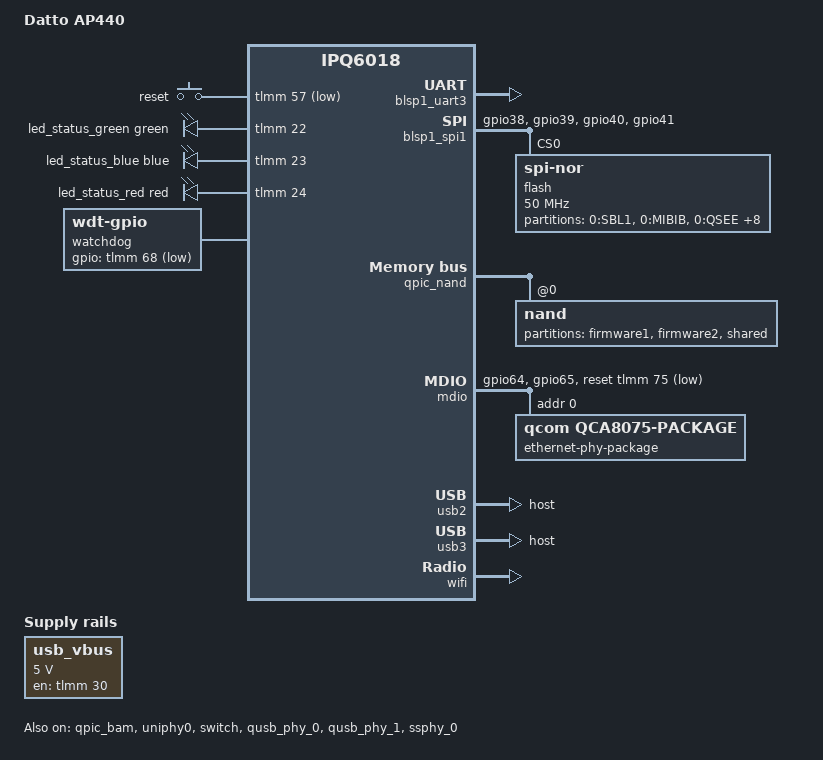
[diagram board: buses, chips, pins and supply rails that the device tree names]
// SPDX-License-Identifier: GPL-2.0-or-later OR MIT

/dts-v1/;

#include "ipq6018.dtsi"
#include "ipq6018-cp-cpu.dtsi"
#include "ipq6018-ess.dtsi"

#include <dt-bindings/gpio/gpio.h>
#include <dt-bindings/input/input.h>
#include <dt-bindings/leds/common.h>

/ {
	model = "Datto AP440";
	compatible = "datto,ap440", "qcom,ipq6018";

	aliases {
		serial0 = &blsp1_uart3;
		label-mac-device = &swport3;
		led-boot = &led_status_green;
		led-failsafe = &led_status_red;
		led-running = &led_status_green;
		led-upgrade = &led_status_blue;
	};

	chosen {
		stdout-path = "serial0:115200n8";
		bootargs-append = " root=/dev/ubiblock0_1";
	};

	keys {
		compatible = "gpio-keys";
		pinctrl-0 = <&button_pins>;
		pinctrl-names = "default";

		reset {
			label = "reset";
			linux,code = <KEY_RESTART>;
			gpios = <&tlmm 57 GPIO_ACTIVE_LOW>;
			debounce-interval = <60>;
		};
	};

	leds {
		compatible = "gpio-leds";
		pinctrl-0 = <&led_pins>;
		pinctrl-names = "default";

		led_status_green: status-green {
			color = <LED_COLOR_ID_GREEN>;
			function = LED_FUNCTION_STATUS;
			gpios = <&tlmm 22 GPIO_ACTIVE_HIGH>;
		};

		led_status_blue: status-blue {
			color = <LED_COLOR_ID_BLUE>;
			function = LED_FUNCTION_STATUS;
			gpios = <&tlmm 23 GPIO_ACTIVE_HIGH>;
		};

		led_status_red: status-red {
			color = <LED_COLOR_ID_RED>;
			function = LED_FUNCTION_STATUS;
			gpios = <&tlmm 24 GPIO_ACTIVE_HIGH>;
		};
	};

	watchdog {
		compatible = "linux,wdt-gpio";
		gpios = <&tlmm 68 GPIO_ACTIVE_LOW>;
		hw_algo = "toggle";
		/* hw_margin_ms is actually 300s but driver limits it to 60s */
		hw_margin_ms = <60000>;
		always-running;
	};

	regulator-usb-vbus {
		compatible = "regulator-fixed";
		regulator-name = "usb_vbus";
		regulator-min-microvolt = <5000000>;
		regulator-max-microvolt = <5000000>;
		gpios = <&tlmm 30 GPIO_ACTIVE_HIGH>;
		enable-active-high;
		regulator-always-on;
	};
};

&tlmm {
	button_pins: button-pins {
		pins = "gpio57";
		function = "gpio";
		drive-strength = <8>;
		bias-pull-up;
	};

	led_pins: led-pins {
		pins = "gpio22", "gpio23", "gpio24";
		function = "gpio";
		drive-strength = <8>;
		bias-pull-down;
	};

	mdio_pins: mdio-pins {
		mdc {
			pins = "gpio64";
			function = "mdc";
			drive-strength = <8>;
			bias-pull-up;
		};

		mdio {
			pins = "gpio65";
			function = "mdio";
			drive-strength = <8>;
			bias-pull-up;
		};
	};

	spi_0_pins: spi-0-pins {
		pins = "gpio38", "gpio39", "gpio40", "gpio41";
		function = "blsp0_spi";
		drive-strength = <8>;
		bias-pull-down;
	};
};

&blsp1_uart3 {
	pinctrl-0 = <&serial_3_pins>;
	pinctrl-names = "default";
	status = "okay";
};

&blsp1_spi1 {
	pinctrl-0 = <&spi_0_pins>;
	pinctrl-names = "default";
	status = "okay";

	flash@0 {
		compatible = "jedec,spi-nor";
		reg = <0>;
		spi-max-frequency = <50000000>;

		partitions {
			compatible = "fixed-partitions";
			#address-cells = <1>;
			#size-cells = <1>;

			partition@0 {
				label = "0:SBL1";
				reg = <0x00000000 0x000c0000>;
				read-only;
			};

			partition@c0000 {
				label = "0:MIBIB";
				reg = <0x000c0000 0x00010000>;
				read-only;
			};

			partition@d0000 {
				label = "0:QSEE";
				reg = <0x000d0000 0x001a0000>;
				read-only;
			};

			partition@270000 {
				label = "0:DEVCFG";
				reg = <0x00270000 0x00010000>;
				read-only;
			};

			partition@280000 {
				label = "0:RPM";
				reg = <0x00280000 0x00020000>;
				read-only;
			};

			partition@2a0000 {
				label = "0:CDT";
				reg = <0x002a0000 0x00010000>;
				read-only;
			};

			partition@2b0000 {
				label = "0:APPSBLENV";
				reg = <0x002b0000 0x00010000>;
			};

			partition@2c0000 {
				label = "0:APPSBL";
				reg = <0x002c0000 0x000a0000>;
				read-only;
			};

			partition@360000 {
				label = "0:ART";
				reg = <0x00360000 0x00040000>;
				read-only;

				nvmem-layout {
					compatible = "fixed-layout";
					#address-cells = <1>;
					#size-cells = <1>;

					macaddr_art_0: macaddr@0 {
						reg = <0x0 0x6>;
					};

					macaddr_art_6: macaddr@6 {
						reg = <0x6 0x6>;
					};
				};
			};

			partition@3a0000 {
				label = "datto";
				reg = <0x003a0000 0x00030000>;
				read-only;
			};

			partition@3d0000 {
				label = "serial";
				reg = <0x003d0000 0x00030000>;
				read-only;
			};
		};
	};
};

&qpic_bam {
	status = "okay";
};

&qpic_nand {
	status = "okay";

	nand@0 {
		reg = <0>;

		nand-ecc-strength = <4>;
		nand-ecc-step-size = <512>;
		nand-bus-width = <8>;

		/*
		 * The bootloader boots from firmware1 or firmware2 (see the
		 * "bootseq" U-Boot variable) and verifies the size and checksum
		 * of the kernel and rootfs UBI volumes before booting.
		 */
		partitions {
			compatible = "fixed-partitions";
			#address-cells = <1>;
			#size-cells = <1>;

			partition@0 {
				label = "firmware1";
				reg = <0x00000000 0x08000000>;
			};

			partition@8000000 {
				label = "firmware2";
				reg = <0x08000000 0x08000000>;
			};

			partition@10000000 {
				label = "shared";
				reg = <0x10000000 0x10000000>;
			};
		};
	};
};

&mdio {
	status = "okay";

	pinctrl-0 = <&mdio_pins>;
	pinctrl-names = "default";
	reset-gpios = <&tlmm 75 GPIO_ACTIVE_LOW>;
	reset-delay-us = <10000>;
	reset-post-delay-us = <50000>;

	ethernet-phy-package@0 {
		compatible = "qcom,qca8075-package";
		#address-cells = <1>;
		#size-cells = <0>;
		reg = <0>;

		qcom,package-mode = "psgmii";

		qca8072_3: ethernet-phy@3 {
			compatible = "ethernet-phy-ieee802.3-c22";
			reg = <3>;
		};

		qca8072_4: ethernet-phy@4 {
			compatible = "ethernet-phy-ieee802.3-c22";
			reg = <4>;
		};
	};
};

&uniphy0 {
	status = "okay";
};

&switch {
	status = "okay";

	ports {
		#address-cells = <1>;
		#size-cells = <0>;

		port@0 {
			reg = <0>;
			ethernet = <&edma>;
			phy-mode = "internal";

			fixed-link {
				speed = <1000>;
				full-duplex;
			};
		};

		swport3: port@3 {
			reg = <3>;
			label = "wan";
			phy-handle = <&qca8072_4>;
			phy-mode = "psgmii";
			pcs-handle = <&uniphy0 4>;
			nvmem-cells = <&macaddr_art_0>;
			nvmem-cell-names = "mac-address";
		};

		swport4: port@4 {
			reg = <4>;
			label = "lan";
			phy-handle = <&qca8072_3>;
			phy-mode = "psgmii";
			pcs-handle = <&uniphy0 3>;
			nvmem-cells = <&macaddr_art_6>;
			nvmem-cell-names = "mac-address";
		};
	};
};

&edma {
	status = "okay";
};

&qusb_phy_0 {
	status = "okay";
};

&qusb_phy_1 {
	status = "okay";
};

&ssphy_0 {
	status = "okay";
};

&usb2 {
	dr_mode = "host";
	status = "okay";
};

&usb3 {
	dr_mode = "host";
	status = "okay";
};

&wifi {
	status = "okay";

	qcom,calibration-variant = "Datto-AP440";
};

/*
 * The QCA9889 on PCIe is used by the stock firmware for passive scanning
 * only ("qcom,ath10k-all-channels-no-ir"). As the upstream ath10k driver
 * can not enforce this restriction, PCIe is left disabled.
 */
